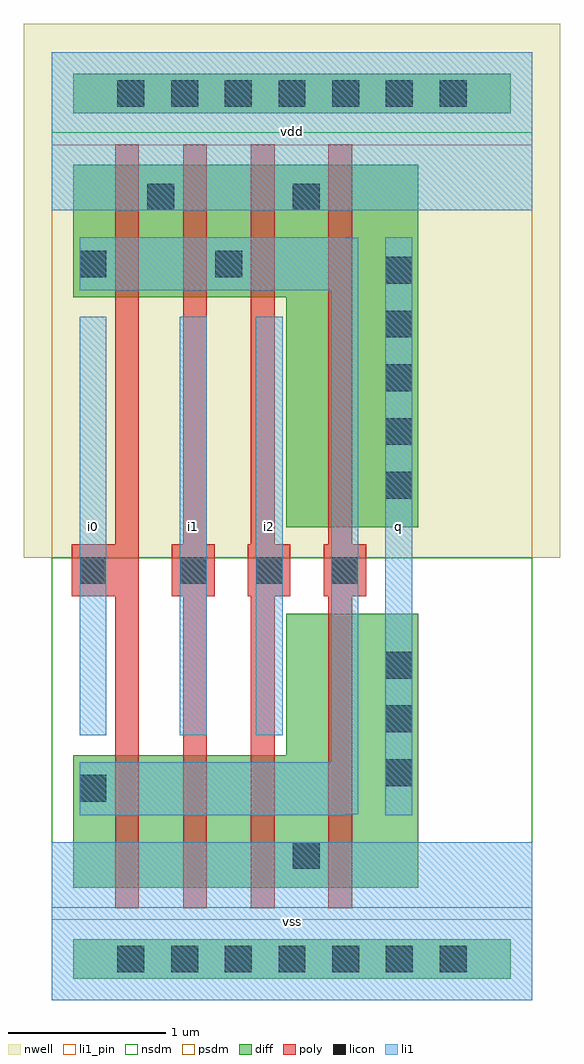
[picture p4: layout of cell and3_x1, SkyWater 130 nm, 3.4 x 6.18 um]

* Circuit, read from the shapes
.subckt and3_x1 i0 i1 i2 q vdd vss
XM1 n1 i0 n2 VSUBS sky130_fd_pr__nfet_01v8 w=0.84 l=0.15
XM2 n3 i1 n1 VSUBS sky130_fd_pr__nfet_01v8 w=0.84 l=0.15
XM3 vss i2 n3 VSUBS sky130_fd_pr__nfet_01v8 w=0.84 l=0.15
XM4 q n2 vss VSUBS sky130_fd_pr__nfet_01v8 w=1.735 l=0.15
XM5 vdd i0 n2 n4 sky130_fd_pr__pfet_01v8 w=0.84 l=0.15
XM6 n2 i1 vdd n4 sky130_fd_pr__pfet_01v8 w=0.84 l=0.15
XM7 vdd i2 n2 n4 sky130_fd_pr__pfet_01v8 w=0.84 l=0.15
XM8 q n2 vdd n4 sky130_fd_pr__pfet_01v8 w=2.295 l=0.15
.ends

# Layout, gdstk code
import gdstk
lib = gdstk.Library(unit=1e-6, precision=1e-09)
def R(c, l, rs):  # rectangles x0, y0, x1, y1
    for r in rs: c.add(gdstk.rectangle(r[:2], r[2:], *l))
def A(c, l, x, y, w, h, nx, ny, dx, dy):  # array of equal rectangles
    R(c, l, [(x+i*dx, y+j*dy, x+i*dx+w, y+j*dy+h) for i in range(nx) for j in range(ny)])
def P(c, l, *ps):  # polygons
    for p in ps: c.add(gdstk.Polygon(p, *l))
nwell = (64, 20)
diff = (65, 20)
poly = (66, 20)
licon = (66, 44)
li1_pin = (67, 16)
li1 = (67, 20)
nsdm = (93, 44)
psdm = (94, 20)

and3_x1 = lib.new_cell('and3_x1')
R(and3_x1, nwell, [(-0.18,2.8,3.22,6.18)])
R(and3_x1, diff, [(0.135,0.135,2.905,0.385), (0.135,5.615,2.905,5.865)])
P(and3_x1, diff, [(1.485,2.995),(1.485,4.45),(0.135,4.45),(0.135,5.29),(2.32,5.29),(2.32,2.995)],
  [(0.135,0.71),(0.135,1.55),(1.485,1.55),(1.485,2.445),(2.32,2.445),(2.32,0.71)])
P(and3_x1, poly, [(1.75,0.58),(1.75,2.555),(1.72,2.555),(1.72,2.885),(1.75,2.885),(1.75,5.42),(1.9,5.42),(1.9,2.885),(1.99,2.885),(1.99,2.555),(1.9,2.555),(1.9,0.58)],
  [(0.4,0.58),(0.4,2.555),(0.125,2.555),(0.125,2.885),(0.4,2.885),(0.4,5.42),(0.55,5.42),(0.55,0.58)],
  [(0.83,0.58),(0.83,2.555),(0.76,2.555),(0.76,2.885),(0.83,2.885),(0.83,5.42),(0.98,5.42),(0.98,2.885),(1.03,2.885),(1.03,2.555),(0.98,2.555),(0.98,0.58)],
  [(1.26,0.58),(1.26,2.555),(1.24,2.555),(1.24,2.885),(1.26,2.885),(1.26,5.42),(1.41,5.42),(1.41,2.885),(1.51,2.885),(1.51,2.555),(1.41,2.555),(1.41,0.58)])
A(and3_x1, licon, 0.415, 0.175, 0.17, 0.17, 7, 2, 0.34, 5.48)
A(and3_x1, licon, 2.11, 1.355, 0.17, 0.17, 1, 3, 0, 0.34)
A(and3_x1, licon, 0.81, 2.635, 0.17, 0.17, 3, 1, 0.48, 0)
A(and3_x1, licon, 2.11, 3.175, 0.17, 0.17, 1, 5, 0, 0.34)
R(and3_x1, licon, [(1.525,0.83,1.695,1), (0.175,1.255,0.345,1.425), (0.175,2.635,0.345,2.805), (0.175,4.575,0.345,4.745), (1.035,4.575,1.205,4.745), (0.605,5,0.775,5.17), (1.525,5,1.695,5.17)])
R(and3_x1, li1_pin, [(0,0,3.04,1), (2.11,1.17,2.28,4.83), (0.175,1.675,0.345,4.325), (0.81,1.675,0.98,4.325), (1.29,1.675,1.46,4.325), (0,5,3.04,6)])
R(and3_x1, li1, [(0,0,3.04,1), (2.11,1.17,2.28,4.83), (0.175,1.675,0.345,4.325), (0.81,1.675,0.98,4.325), (1.29,1.675,1.46,4.325), (0,5,3.04,6)])
P(and3_x1, li1, [(0.175,1.17),(0.175,1.505),(1.77,1.505),(1.77,4.495),(0.175,4.495),(0.175,4.83),(1.855,4.83),(1.855,4.825),(1.94,4.825),(1.94,1.175),(1.855,1.175),(1.855,1.17)])
R(and3_x1, nsdm, [(0,0.585,3.04,2.8), (0,5.49,3.04,6)])
R(and3_x1, psdm, [(0,0,3.04,0.51), (0,2.8,3.04,5.415)])
and3_x1.add(gdstk.Label('vdd', (1.52,5.5), layer=67, texttype=16))
and3_x1.add(gdstk.Label('vss', (1.52,0.5), layer=67, texttype=16))
and3_x1.add(gdstk.Label('i0', (0.26,3), layer=67, texttype=16))
and3_x1.add(gdstk.Label('i1', (0.895,3), layer=67, texttype=16))
and3_x1.add(gdstk.Label('i2', (1.375,3), layer=67, texttype=16))
and3_x1.add(gdstk.Label('q', (2.195,3), layer=67, texttype=16))

lib.write_gds('and3_x1.gds')
